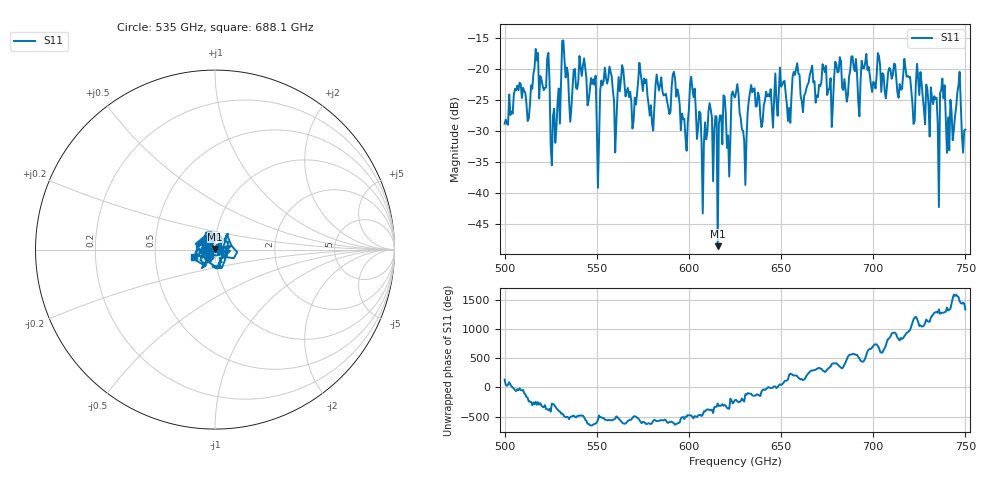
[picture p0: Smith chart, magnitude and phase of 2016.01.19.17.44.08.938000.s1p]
!Created with skrf (http://scikit-rf.org).
# GHz S RI R 50.0
!freq ReS11 ImS11
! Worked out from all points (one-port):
!   401 points, 500 GHz to 750 GHz, reference 50 ohm
!   lowest |S11| = -48.5 dB at 615.6 GHz (marker M1), VSWR 1.01, Z = 50 + j0.372 ohm
!   |S11| at or under -10 dB: start of sweep to end of sweep
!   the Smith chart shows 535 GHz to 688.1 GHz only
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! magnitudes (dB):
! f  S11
! 500 GHz  -28.8
! 513.1 GHz  -28.0
! 516.9 GHz  -16.8
! 523.1 GHz  -18.3
! 526.2 GHz  -27.6
! 531.2 GHz  -15.5
! 548.1 GHz  -21.7
! 551.2 GHz  -31.1
! 553.8 GHz  -21.9
! 560 GHz  -33.4
! 562.5 GHz  -23.6
! 570 GHz  -28.3
! 574.4 GHz  -22.0
! 580 GHz  -28.8
! 583.8 GHz  -23.5
! 593.8 GHz  -23.3
! 615.6 GHz  -48.5
! 618.8 GHz  -24.3
! 621.2 GHz  -30.7
! 625 GHz  -24.6
! 630 GHz  -31.6
! 634.4 GHz  -23.8
! 656.2 GHz  -21.2
! 687.5 GHz  -20.3
! 718.8 GHz  -21.1
! 734.4 GHz  -24.7
! 746.2 GHz  -22.6
! 750 GHz  -29.8
